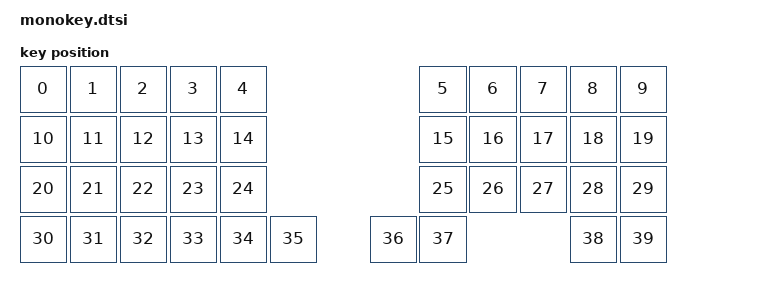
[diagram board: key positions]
#include <dt-bindings/zmk/matrix_transform.h>
#include <physical_layouts.dtsi>
#include <dt-bindings/zmk/keys.h>
#include <dt-bindings/zmk/bt.h>
#include <dt-bindings/zmk/mouse.h>

/* --- RC_ マクロの定義 --- */
#define RC_(row, col) (row << 8 | col)

/ {
    aliases {
        led-red = &led0;
        led-green = &led1;
        led-blue = &led2;
        chg-stat = &chg_stat;
    };

    chosen {
        zmk,physical-layout = &monokey_physical_layout;
    };

    /* 物理的なキー配置の定義（ZMK Studio等で使用） */
    monokey_physical_layout: monokey_physical_layout {
        compatible = "zmk,physical-layout";
        display-name = "Default";
        transform = <&default_transform>;

        keys
            = <&key_physical_attrs 100 100    0    0       0     0     0>
            , <&key_physical_attrs 100 100  100    0       0     0     0>
            , <&key_physical_attrs 100 100  200    0       0     0     0>
            , <&key_physical_attrs 100 100  300    0       0     0     0>
            , <&key_physical_attrs 100 100  400    0       0     0     0>
            , <&key_physical_attrs 100 100  800    0       0     0     0>
            , <&key_physical_attrs 100 100  900    0       0     0     0>
            , <&key_physical_attrs 100 100 1000    0       0     0     0>
            , <&key_physical_attrs 100 100 1100    0       0     0     0>
            , <&key_physical_attrs 100 100 1200    0       0     0     0>
            , <&key_physical_attrs 100 100    0  100       0     0     0>
            , <&key_physical_attrs 100 100  100  100       0     0     0>
            , <&key_physical_attrs 100 100  200  100       0     0     0>
            , <&key_physical_attrs 100 100  300  100       0     0     0>
            , <&key_physical_attrs 100 100  400  100       0     0     0>
            , <&key_physical_attrs 100 100  800  100       0     0     0>
            , <&key_physical_attrs 100 100  900  100       0     0     0>
            , <&key_physical_attrs 100 100 1000  100       0     0     0>
            , <&key_physical_attrs 100 100 1100  100       0     0     0>
            , <&key_physical_attrs 100 100 1200  100       0     0     0>
            , <&key_physical_attrs 100 100    0  200       0     0     0>
            , <&key_physical_attrs 100 100  100  200       0     0     0>
            , <&key_physical_attrs 100 100  200  200       0     0     0>
            , <&key_physical_attrs 100 100  300  200       0     0     0>
            , <&key_physical_attrs 100 100  400  200       0     0     0>
            , <&key_physical_attrs 100 100  800  200       0     0     0>
            , <&key_physical_attrs 100 100  900  200       0     0     0>
            , <&key_physical_attrs 100 100 1000  200       0     0     0>
            , <&key_physical_attrs 100 100 1100  200       0     0     0>
            , <&key_physical_attrs 100 100 1200  200       0     0     0>
            , <&key_physical_attrs 100 100    0  300       0     0     0>
            , <&key_physical_attrs 100 100  100  300       0     0     0>
            , <&key_physical_attrs 100 100  200  300       0     0     0>
            , <&key_physical_attrs 100 100  300  300       0     0     0>
            , <&key_physical_attrs 100 100  400  300       0     0     0>
            , <&key_physical_attrs 100 100  500  300       0     0     0>
            , <&key_physical_attrs 100 100  700  300       0     0     0>
            , <&key_physical_attrs 100 100  800  300       0     0     0>
            , <&key_physical_attrs 100 100 1100  300       0     0     0>
            , <&key_physical_attrs 100 100 1200  300       0     0     0>
            ;
    };

    /* マトリックス変換の定義 */
    default_transform: keymap_transform_0 {
        compatible = "zmk,matrix-transform";
        columns = <11>;
        rows = <4>;
        map = <
            RC_(0,0) RC_(0,1) RC_(0,2) RC_(0,3) RC_(0,4)                     RC_(0,6) RC_(0,7) RC_(0,8) RC_(0,9) RC_(0,10)
            RC_(1,0) RC_(1,1) RC_(1,2) RC_(1,3) RC_(1,4)                     RC_(1,6) RC_(1,7) RC_(1,8) RC_(1,9) RC_(1,10)
            RC_(2,0) RC_(2,1) RC_(2,2) RC_(2,3) RC_(2,4)                     RC_(2,6) RC_(2,7) RC_(2,8) RC_(2,9) RC_(2,10)
            RC_(3,0) RC_(3,1) RC_(3,2) RC_(3,3) RC_(3,4) RC_(3,5)     RC_(3,6) RC_(3,7)                 RC_(3,9) RC_(3,10)         
        >;
    };
};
